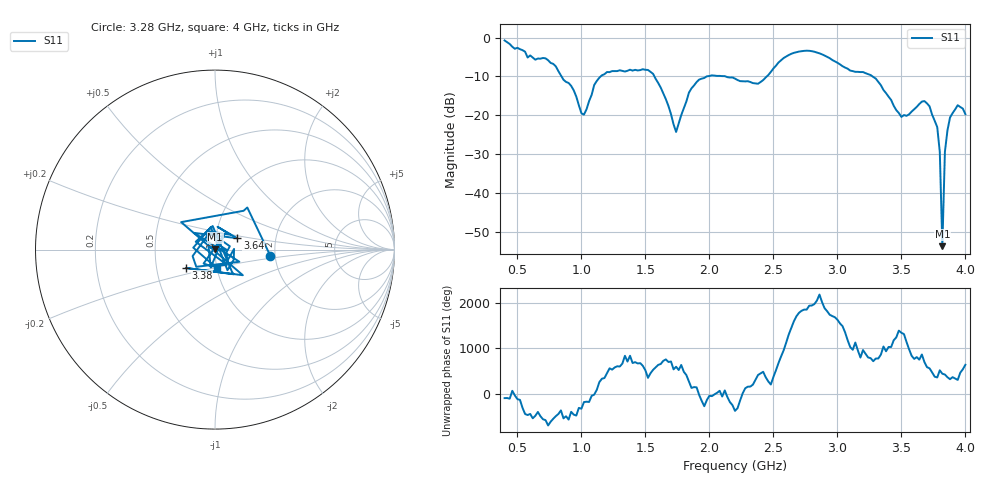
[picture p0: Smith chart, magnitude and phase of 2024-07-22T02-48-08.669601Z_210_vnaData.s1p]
!Created with skrf (http://scikit-rf.org).
# Hz S RI R 50.0
!freq ReS11 ImS11
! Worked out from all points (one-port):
!   181 points, 400 MHz to 4 GHz, reference 50 ohm
!   lowest |S11| = -53.8 dB at 3.82 GHz (marker M1), VSWR 1.00, Z = 50 + j0.2 ohm
!   |S11| at or under -10 dB: 1.57 GHz to 1.98 GHz (409.8 MHz wide, 23.1 % of centre); 2.124 GHz to 2.449 GHz (325 MHz wide, 14.2 % of centre); 3.273 GHz to end of sweep (the widest 3 of 4)
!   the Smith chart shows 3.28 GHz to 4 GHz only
!   S11 on the Smith chart (normalised r, x): 3.28 GHz: 1.89, -0.15; 3.38 GHz: 0.71, -0.15; 3.64 GHz: 1.27, +0.16; 4 GHz: 1.00, -0.21
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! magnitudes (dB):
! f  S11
! 400 MHz  -0.8
! 720 MHz  -5.4
! 860 MHz  -10.9
! 1.02 GHz  -19.9
! 1.14 GHz  -10.4
! 1.3 GHz  -8.4
! 1.56 GHz  -9.4
! 1.74 GHz  -24.3
! 1.76 GHz  -22.1
! 1.84 GHz  -14.2
! 1.92 GHz  -10.8
! 2.2 GHz  -10.6
! 2.38 GHz  -11.9
! 2.66 GHz  -3.9
! 3.1 GHz  -8.5
! 3.28 GHz  -10.2
! 3.38 GHz  -14.3
! 3.5 GHz  -20.5
! 3.56 GHz  -19.8
! 3.64 GHz  -17.1
! 3.72 GHz  -17.7
! 3.78 GHz  -23.1
! 3.8 GHz  -29.5
! 3.82 GHz  -53.8
! 3.84 GHz  -29.4
! 3.86 GHz  -23.9
! 3.94 GHz  -17.4
! 4 GHz  -19.8
